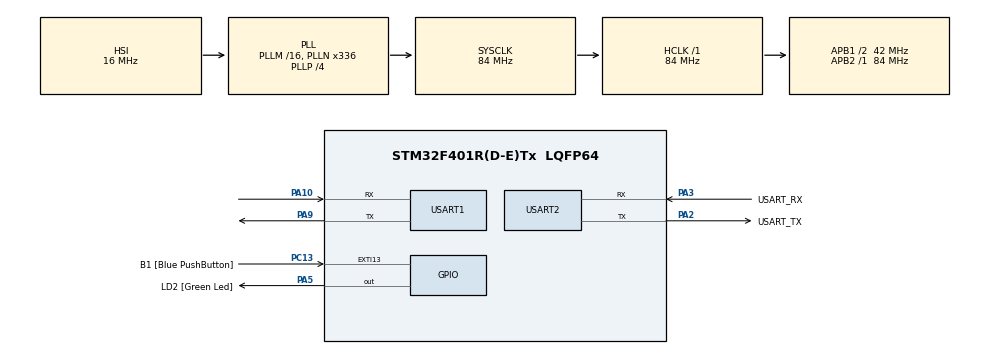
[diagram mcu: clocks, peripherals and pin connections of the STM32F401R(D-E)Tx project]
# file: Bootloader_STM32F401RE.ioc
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Mcu.Family=STM32F4
Mcu.Name=STM32F401R(D-E)Tx
Mcu.Package=LQFP64
NVIC.PriorityGroup=NVIC_PRIORITYGROUP_4
PA10.Mode=Asynchronous
PA10.Signal=USART1_RX
PA13.GPIO_Label=TMS
PA13.Mode=Trace_Asynchronous_SW
PA13.Signal=SYS_JTMS-SWDIO
PA14.GPIO_Label=TCK
PA14.Mode=Trace_Asynchronous_SW
PA14.Signal=SYS_JTCK-SWCLK
PA2.GPIO_Label=USART_TX
PA2.GPIO_Mode=GPIO_MODE_AF_PP
PA2.GPIO_PuPd=GPIO_NOPULL
PA2.GPIO_Speed=GPIO_SPEED_FREQ_LOW
PA2.Mode=Asynchronous
PA2.Signal=USART2_TX
PA3.GPIO_Label=USART_RX
PA3.GPIO_Mode=GPIO_MODE_AF_PP
PA3.GPIO_PuPd=GPIO_NOPULL
PA3.GPIO_Speed=GPIO_SPEED_FREQ_LOW
PA3.Mode=Asynchronous
PA3.Signal=USART2_RX
PA5.GPIO_Label=LD2 [Green Led]
PA5.GPIO_Mode=GPIO_MODE_OUTPUT_PP
PA5.GPIO_PuPd=GPIO_NOPULL
PA5.GPIO_Speed=GPIO_SPEED_FREQ_LOW
PA5.Signal=GPIO_Output
PA9.Mode=Asynchronous
PA9.Signal=USART1_TX
PB3.GPIO_Label=SWO
PB3.Mode=Trace_Asynchronous_SW
PB3.Signal=SYS_JTDO-SWO
PC13-ANTI_TAMP.GPIO_Label=B1 [Blue PushButton]
PC13-ANTI_TAMP.GPIO_ModeDefaultEXTI=GPIO_MODE_IT_FALLING
PC13-ANTI_TAMP.GPIO_PuPd=GPIO_NOPULL
PC13-ANTI_TAMP.Signal=GPXTI13
PC14-OSC32_IN.Mode=LSE-External-Oscillator
PC14-OSC32_IN.Signal=RCC_OSC32_IN
PC15-OSC32_OUT.Mode=LSE-External-Oscillator
PC15-OSC32_OUT.Signal=RCC_OSC32_OUT
PH0\ -\ OSC_IN.Mode=HSE-External-Clock-Source
PH0\ -\ OSC_IN.Signal=RCC_OSC_IN
PH1\ -\ OSC_OUT.Mode=HSE-External-Clock-Source
PH1\ -\ OSC_OUT.Signal=RCC_OSC_OUT
ProjectManager.HeapSize=0x200
ProjectManager.StackSize=0x400
ProjectManager.TargetToolchain=STM32CubeIDE
RCC.48MHZClocksFreq_Value=48000000
RCC.AHBFreq_Value=84000000
RCC.APB1CLKDivider=RCC_HCLK_DIV2
RCC.APB1Freq_Value=42000000
RCC.APB1TimFreq_Value=84000000
RCC.APB2Freq_Value=84000000
RCC.APB2TimFreq_Value=84000000
RCC.CortexFreq_Value=84000000
RCC.HCLKFreq_Value=84000000
RCC.HSE_VALUE=8000000
RCC.HSI_VALUE=16000000
RCC.PLLN=336
RCC.PLLP=RCC_PLLP_DIV4
RCC.PLLQ=7
RCC.SYSCLKFreq_VALUE=84000000
RCC.SYSCLKSource=RCC_SYSCLKSOURCE_PLLCLK
RCC.VCOOutputFreq_Value=336000000
USART1.VirtualMode=VM_ASYNC
USART2.VirtualMode=VM_ASYNC
VP_CRC_VS_CRC.Mode=CRC_Activate
board=NUCLEO-F401RE

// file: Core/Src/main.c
/* USER CODE BEGIN Header */
/**
  ******************************************************************************
  * @file           : main.c
  * @brief          : Main program body
  ******************************************************************************
  * @attention
  *
  * Copyright (c) 2024 STMicroelectronics.
  * All rights reserved.
  *
  * This software is licensed under terms that can be found in the LICENSE file
  * in the root directory of this software component.
  * If no LICENSE file comes with this software, it is provided AS-IS.
  *
  ******************************************************************************
  */
/* USER CODE END Header */
#include "main.h"
#include <string.h>
#include <stdarg.h>

CRC_HandleTypeDef hcrc;

UART_HandleTypeDef huart1;
UART_HandleTypeDef huart2;

void SystemClock_Config(void);
static void MX_GPIO_Init(void);
static void MX_CRC_Init(void);
static void MX_USART1_UART_Init(void);
static void MX_USART2_UART_Init(void);
static void printmsg(char *format,...);

/* USER CODE BEGIN 0 */
char msg1[] = "Hello for UART\r\n";
char msg2[] = "Hello for Application\r\n";

uint8_t supported_commands[] = {
                               BL_GET_VER ,
                               BL_GET_HELP,
                               BL_GET_CID,
							   BL_GET_RDP_Status,
							   BL_GOTO_ADDR,
							   BL_CID_FLASH_ERASE,
                               BL_MEM_WRITE,
							   BL_READ_SECTOR_STATUS} ;

#define rcv_rx_len 200
#define C_UART &huart1
#define D_UART &huart2

uint8_t bl_rx_buffer[rcv_rx_len];
/* USER CODE END 0 */

int main(void)
{

  /* MCU Configuration--------------------------------------------------------*/

  /* Reset of all peripherals, Initializes the Flash interface and the Systick. */
  HAL_Init();

  /* Configure the system clock */
  SystemClock_Config();

  /* Initialize all configured peripherals */
  MX_GPIO_Init();
  MX_CRC_Init();
  MX_USART1_UART_Init();
  MX_USART2_UART_Init();

  /* Infinite loop */
  /* USER CODE BEGIN WHILE */
	if( HAL_GPIO_ReadPin(B1_GPIO_Port,B1_Pin) == GPIO_PIN_RESET)
	{
		HAL_UART_Transmit(&huart1,(uint8_t*)msg1,sizeof(msg1),HAL_MAX_DELAY);
		bootloader_read_uart_data();

	}
	else
	{
		HAL_UART_Transmit(&huart1,(uint8_t*)msg2,sizeof(msg2),HAL_MAX_DELAY);
		bootloader_jump_to_user_app();

	}

}

void printmsg(char *format,...)
{
	char str[80];
	va_list args;
	va_start(args,format);
	vsprintf(str,format,args);
	HAL_UART_Transmit(D_UART,(uint8_t *)str,strlen(str),HAL_MAX_DELAY);
	va_end(args);
}

void bootloader_read_uart_data(void)
{
	uint8_t rcv_len =0;

	while(1)
	{
		memset(bl_rx_buffer,0,200);
		HAL_UART_Receive(C_UART,bl_rx_buffer,1,HAL_MAX_DELAY);
		rcv_len = bl_rx_buffer[0];
		HAL_UART_Receive(C_UART,&bl_rx_buffer[1],rcv_len,HAL_MAX_DELAY);
		switch(bl_rx_buffer[1])
		{
			case BL_GET_VER:
				bootloader_handle_getver_cmd(bl_rx_buffer);
				break;

			case BL_GET_HELP:
				bootloader_handle_gethelp_cmd(bl_rx_buffer);
				break;

			case BL_GET_CID:
				bootloader_handle_getcid_cmd(bl_rx_buffer);
				break;

			case BL_GET_RDP_Status:
				bootloader_handle_getrdp_cmd(bl_rx_buffer);
				break;

			case BL_GOTO_ADDR:
				bootloader_handle_go_cmd(bl_rx_buffer);
				break;

			case BL_CID_FLASH_ERASE:
				bootloader_handle_flash_erase_cmd(bl_rx_buffer);
				break;

			case BL_MEM_WRITE:
				bootloader_handle_mem_write_cmd(bl_rx_buffer);
				break;

			case BL_ENDIS_RW_PROTECT:
				bootloader_handle_endis_rw_protect(bl_rx_buffer);
				break;

			case BL_MEM_READ:
				bootloader_handle_mem_read(bl_rx_buffer);
				break;

			case BL_READ_SECTOR_STATUS:
				bootloader_handle_read_sector_status(bl_rx_buffer);
				break;

			case BL_OTP_READ:
				bootloader_handle_read_otp(bl_rx_buffer);
				break;
		}

	}
}

void bootloader_jump_to_user_app(void)
{
	void (*app_reset_handler)(void);

	uint32_t msp_value = *(volatile uint32_t *) FLASH_SECTOR2_BASE_ADDRESS;

	__set_MSP(msp_value);

	uint32_t reset_handler_address = *(volatile uint32_t *) (FLASH_SECTOR2_BASE_ADDRESS + 4);

	app_reset_handler = (void*) reset_handler_address;

	app_reset_handler();
}

/******** **********/
void bootloader_handle_getver_cmd(uint8_t *b1_rx_buffer)
{
	 uint8_t bl_version;

	// 1) verify the checksum
	  printmsg("BL_DEBUG_MSG:bootloader_handle_getver_cmd\r\n");

	 //Total length of the command packet
	  uint32_t command_packet_len = bl_rx_buffer[0]+1 ;

	  //extract the CRC32 sent by the Host
	  uint32_t host_crc = *((uint32_t * ) (bl_rx_buffer+command_packet_len - 4) ) ;

	if (! bootloader_verify_crc(&bl_rx_buffer[0],command_packet_len-4,host_crc))
	{
		printmsg("BL_DEBUG_MSG:checksum success !!\r\n");
		// checksum is correct..
		bootloader_send_ack(bl_rx_buffer[0],1);
		bl_version=get_bootloader_version();
		printmsg("BL_DEBUG_MSG:BL_VER : %d %#x\r\n",bl_version,bl_version);
		bootloader_uart_write_data(&bl_version,1);

	}else
	{
		printmsg("BL_DEBUG_MSG:checksum fail !!\r\n");
		//checksum is wrong send nack
		bootloader_send_nack();
	}
}

/******** **********/
void bootloader_handle_gethelp_cmd(uint8_t *pBuffer)
{
	 	 printmsg("BL_DEBUG_MSG:bootloader_handle_gethelp_cmd\n");

		//Total length of the command packet
		uint32_t command_packet_len = bl_rx_buffer[0]+1 ;

		//extract the CRC32 sent by the Host
		uint32_t host_crc = *((uint32_t * ) (bl_rx_buffer+command_packet_len - 4) ) ;

		if (! bootloader_verify_crc(&bl_rx_buffer[0],command_packet_len-4,host_crc))
		{
	        printmsg("BL_DEBUG_MSG:checksum success !!\n");
	        bootloader_send_ack(pBuffer[0],sizeof(supported_commands));
	        bootloader_uart_write_data(supported_commands,sizeof(supported_commands) );

		}else
		{
	        printmsg("BL_DEBUG_MSG:checksum fail !!\n");
	        bootloader_send_nack();
		}
}

/******** **********/
void bootloader_handle_getcid_cmd(uint8_t *pBuffer)
{
		uint16_t bl_cid_num = 0;
		printmsg("BL_DEBUG_MSG:bootloader_handle_getcid_cmd\n");

	    //Total length of the command packet
		uint32_t command_packet_len = bl_rx_buffer[0]+1 ;

		//extract the CRC32 sent by the Host
		uint32_t host_crc = *((uint32_t * ) (bl_rx_buffer+command_packet_len - 4) ) ;

		if (! bootloader_verify_crc(&bl_rx_buffer[0],command_packet_len-4,host_crc))
		{
	        printmsg("BL_DEBUG_MSG:checksum success !!\n");
	        bootloader_send_ack(pBuffer[0],2);
	        bl_cid_num = get_mcu_chip_id();
	        printmsg("BL_DEBUG_MSG:MCU id : %d %#x !!\n",bl_cid_num, bl_cid_num);
	        bootloader_uart_write_data((uint8_t *)&bl_cid_num,2);

		}else
		{
	        printmsg("BL_DEBUG_MSG:checksum fail !!\n");
	        bootloader_send_nack();
		}
}

/******** **********/
void bootloader_handle_getrdp_cmd(uint8_t *b1_rx_buffer)
{
		uint8_t rdp_level = 0x00;
	    printmsg("BL_DEBUG_MSG:bootloader_handle_getrdp_cmd\n");

	    //Total length of the command packet
		uint32_t command_packet_len = bl_rx_buffer[0]+1 ;

		//extract the CRC32 sent by the Host
		uint32_t host_crc = *((uint32_t * ) (bl_rx_buffer+command_packet_len - 4) ) ;

		if (! bootloader_verify_crc(&bl_rx_buffer[0],command_packet_len-4,host_crc))
		{
	        printmsg("BL_DEBUG_MSG:checksum success !!\n");
	        bootloader_send_ack(pBuffer[0],1);
	        rdp_level = get_flash_rdp_level();
	        printmsg("BL_DEBUG_MSG:RDP level: %d %#x\n",rdp_level,rdp_level);
	        bootloader_uart_write_data(&rdp_level,1);

		}else
		{
	        printmsg("BL_DEBUG_MSG:checksum fail !!\n");
	        bootloader_send_nack();
		}
}

/******** **********/
void bootloader_handle_go_cmd(uint8_t *b1_rx_buffer)
{
		uint32_t go_address=0;
	    uint8_t addr_valid = ADDR_VALID;
	    uint8_t addr_invalid = ADDR_INVALID;

	    printmsg("BL_DEBUG_MSG:bootloader_handle_go_cmd\n");

	    //Total length of the command packet
		uint32_t command_packet_len = bl_rx_buffer[0]+1 ;

		//extract the CRC32 sent by the Host
		uint32_t host_crc = *((uint32_t * ) (bl_rx_buffer+command_packet_len - 4) ) ;

		if (! bootloader_verify_crc(&bl_rx_buffer[0],command_packet_len-4,host_crc))
		{
	        printmsg("BL_DEBUG_MSG:checksum success !!\n");

	        bootloader_send_ack(pBuffer[0],1);

	        //extract the go address
	        go_address = *((uint32_t *)&pBuffer[2] );
	        printmsg("BL_DEBUG_MSG:GO addr: %#x\n",go_address);

	        if( verify_address(go_address) == ADDR_VALID )
	        {
	            //tell host that address is fine
	            bootloader_uart_write_data(&addr_valid,1);

	            /*jump to "go" address.
	            we dont care what is being done there.
	            host must ensure that valid code is present over there
	            Its not the duty of bootloader. so just trust and jump */

	            /* Not doing the below line will result in hardfault exception for ARM cortex M */
	            //watch : https://www.youtube.com/watch?v=VX_12SjnNhY

	            go_address+=1; //make T bit =1

	            void (*lets_jump)(void) = (void *)go_address;

	            printmsg("BL_DEBUG_MSG: jumping to go address! \n");

	            lets_jump();

			}else
			{
	            printmsg("BL_DEBUG_MSG:GO addr invalid ! \n");
	            //tell host that address is invalid
	            bootloader_uart_write_data(&addr_invalid,1);
			}

		}else
		{
	        printmsg("BL_DEBUG_MSG:checksum fail !!\n");
	        bootloader_send_nack();
		}
}

/******** **********/
void bootloader_handle_flash_erase_cmd(uint8_t *b1_rx_buffer)
{
		uint8_t erase_status = 0x00;
	    printmsg("BL_DEBUG_MSG:bootloader_handle_flash_erase_cmd\n");

	    //Total length of the command packet
		uint32_t command_packet_len = bl_rx_buffer[0]+1 ;

		//extract the CRC32 sent by the Host
		uint32_t host_crc = *((uint32_t * ) (bl_rx_buffer+command_packet_len - 4) ) ;

		if (! bootloader_verify_crc(&bl_rx_buffer[0],command_packet_len-4,host_crc))
		{
	        printmsg("BL_DEBUG_MSG:checksum success !!\n");
	        bootloader_send_ack(pBuffer[0],1);
	        printmsg("BL_DEBUG_MSG:initial_sector : %d  no_ofsectors: %d\n",pBuffer[2],pBuffer[3]);

	        HAL_GPIO_WritePin(LD2_GPIO_Port, LD2_Pin,1);
	        erase_status = execute_flash_erase(pBuffer[2] , pBuffer[3]);
	        HAL_GPIO_WritePin(LD2_GPIO_Port, LD2_Pin,0);

	        printmsg("BL_DEBUG_MSG: flash erase status: %#x\n",erase_status);

	        bootloader_uart_write_data(&erase_status,1);

		}else
		{
	        printmsg("BL_DEBUG_MSG:checksum fail !!\n");
	        bootloader_send_nack();
		}
}

/******** **********/
void bootloader_handle_mem_write_cmd(uint8_t *b1_rx_buffer)
{

}

/******** **********/
void bootloader_handle_endis_rw_protect(uint8_t *b1_rx_buffer)
{

}

/******** **********/
void bootloader_handle_mem_read(uint8_t *b1_rx_buffer)
{

}

/******** **********/
void bootloader_handle_read_sector_status(uint8_t *b1_rx_buffer)
{

}

/******** **********/
void bootloader_handle_read_otp(uint8_t *b1_rx_buffer)
{

}

void bootloader_send_ack(uint8_t command_code, uint8_t follow_len)
{
	uint8_t ack_buf[2];
	ack_buf[0] = BL_ACK;
	ack_buf[1] = follow_len;

	HAL_UART_Transmit(C_UART,ack_buf,2,HAL_MAX_DELAY);
}

void bootloader_send_nack(void)
{
	uint8_t nack = BL_NACK;
	HAL_UART_Transmit(C_UART,&nack,1,HAL_MAX_DELAY);
}

uint8_t bootloader_verify_crc (uint8_t *pData, uint32_t len, uint32_t crc_host)
{
    uint32_t uwCRCValue=0xff;

    for (uint32_t i=0 ; i < len ; i++)
	{
        uint32_t i_data = pData[i];
        uwCRCValue = HAL_CRC_Accumulate(&hcrc, &i_data, 1);
	}

	 /* Reset CRC Calculation Unit */
  __HAL_CRC_DR_RESET(&hcrc);

	if( uwCRCValue == crc_host)
	{
		return VERIFY_CRC_SUCCESS;
	}

	return VERIFY_CRC_FAIL;
}

uint8_t get_bootloader_version(void)
{
  return (uint8_t)BL_VERSION;
}

uint8_t get_flash_rdp_level(void)
{

	uint8_t rdp_status=0;
#if 0
	FLASH_OBProgramInitTypeDef  ob_handle;
	HAL_FLASHEx_OBGetConfig(&ob_handle);
	rdp_status = (uint8_t)ob_handle.RDPLevel;
#else

	 volatile uint32_t *pOB_addr = (uint32_t*) 0x1FFFC000;
	 rdp_status =  (uint8_t)(*pOB_addr >> 8) ;
#endif

	return rdp_status;

}

void bootloader_uart_write_data(uint8_t *pBuffer,uint32_t len)
{
    /*you can replace the below ST's USART driver API call with your MCUs driver API call */
	HAL_UART_Transmit(C_UART,pBuffer,len,HAL_MAX_DELAY);

}

uint16_t get_mcu_chip_id(void)
{
/*
	The STM32F446xx MCUs integrate an MCU ID code. This ID identifies the ST MCU partnumber
	and the die revision. It is part of the DBG_MCU component and is mapped on the
	external PPB bus (see Section 33.16 on page 1304). This code is accessible using the
	JTAG debug pCat.2ort (4 to 5 pins) or the SW debug port (two pins) or by the user software.
	It is even accessible while the MCU is under system reset. */
	uint16_t cid;
	cid = (uint16_t)(DBGMCU->IDCODE) & 0x0FFF;
	return  cid;

}

uint8_t execute_flash_erase(uint8_t sector_number , uint8_t number_of_sector)
{
    //we have totally 8 sectors in STM32F446RE mcu .. sector[0 to 7]
	//number_of_sector has to be in the range of 0 to 7
	// if sector_number = 0xff , that means mass erase !
	//Code needs to modified if your MCU supports more flash sectors
	FLASH_EraseInitTypeDef flashErase_handle;
	uint32_t sectorError;
	HAL_StatusTypeDef status;

	if( number_of_sector > 8 )
		return INVALID_SECTOR;

	if( (sector_number == 0xff ) || (sector_number <= 7) )
	{
		if(sector_number == (uint8_t) 0xff)
		{
			flashErase_handle.TypeErase = FLASH_TYPEERASE_MASSERASE;
		}else
		{
		    /*Here we are just calculating how many sectors needs to erased */
			uint8_t remanining_sector = 8 - sector_number;
            if( number_of_sector > remanining_sector)
            {
            	number_of_sector = remanining_sector;
            }
			flashErase_handle.TypeErase = FLASH_TYPEERASE_SECTORS;
			flashErase_handle.Sector = sector_number; // this is the initial sector
			flashErase_handle.NbSectors = number_of_sector;
		}
		flashErase_handle.Banks = FLASH_BANK_1;

		/*Get access to touch the flash registers */
		HAL_FLASH_Unlock();
		flashErase_handle.VoltageRange = FLASH_VOLTAGE_RANGE_3;  // our mcu will work on this voltage range
		status = (uint8_t) HAL_FLASHEx_Erase(&flashErase_handle, &sectorError);
		HAL_FLASH_Lock();

		return status;
	}

	return INVALID_SECTOR;
}

/**
  * @briebootloader_jump_to_user_appf System Clock Configuration
  * @retval None
  */
void SystemClock_Config(void)
{
  RCC_OscInitTypeDef RCC_OscInitStruct = {0};
  RCC_ClkInitTypeDef RCC_ClkInitStruct = {0};

  /** Configure the main internal regulator output voltage
  */
  __HAL_RCC_PWR_CLK_ENABLE();
  __HAL_PWR_VOLTAGESCALING_CONFIG(PWR_REGULATOR_VOLTAGE_SCALE2);

  /** Initializes the RCC Oscillators according to the specified parameters
  * in the RCC_OscInitTypeDef structure.
  */
  RCC_OscInitStruct.OscillatorType = RCC_OSCILLATORTYPE_HSI;
  RCC_OscInitStruct.HSIState = RCC_HSI_ON;
  RCC_OscInitStruct.HSICalibrationValue = RCC_HSICALIBRATION_DEFAULT;
  RCC_OscInitStruct.PLL.PLLState = RCC_PLL_ON;
  RCC_OscInitStruct.PLL.PLLSource = RCC_PLLSOURCE_HSI;
  RCC_OscInitStruct.PLL.PLLM = 16;
  RCC_OscInitStruct.PLL.PLLN = 336;
  RCC_OscInitStruct.PLL.PLLP = RCC_PLLP_DIV4;
  RCC_OscInitStruct.PLL.PLLQ = 7;
  if (HAL_RCC_OscConfig(&RCC_OscInitStruct) != HAL_OK)
  {
    Error_Handler();
  }

  /** Initializes the CPU, AHB and APB buses clocks
  */
  RCC_ClkInitStruct.ClockType = RCC_CLOCKTYPE_HCLK|RCC_CLOCKTYPE_SYSCLK
                              |RCC_CLOCKTYPE_PCLK1|RCC_CLOCKTYPE_PCLK2;
  RCC_ClkInitStruct.SYSCLKSource = RCC_SYSCLKSOURCE_PLLCLK;
  RCC_ClkInitStruct.AHBCLKDivider = RCC_SYSCLK_DIV1;
  RCC_ClkInitStruct.APB1CLKDivider = RCC_HCLK_DIV2;
  RCC_ClkInitStruct.APB2CLKDivider = RCC_HCLK_DIV1;

  if (HAL_RCC_ClockConfig(&RCC_ClkInitStruct, FLASH_LATENCY_2) != HAL_OK)
  {
    Error_Handler();
  }
}

static void MX_CRC_Init(void)
{

  hcrc.Instance = CRC;
  if (HAL_CRC_Init(&hcrc) != HAL_OK)
  {
    Error_Handler();
  }

}

static void MX_USART1_UART_Init(void)
{

  huart1.Instance = USART1;
  huart1.Init.BaudRate = 115200;
  huart1.Init.WordLength = UART_WORDLENGTH_8B;
  huart1.Init.StopBits = UART_STOPBITS_1;
  huart1.Init.Parity = UART_PARITY_NONE;
  huart1.Init.Mode = UART_MODE_TX_RX;
  huart1.Init.HwFlowCtl = UART_HWCONTROL_NONE;
  huart1.Init.OverSampling = UART_OVERSAMPLING_16;
  if (HAL_UART_Init(&huart1) != HAL_OK)
  {
    Error_Handler();
  }

}

static void MX_USART2_UART_Init(void)
{

  huart2.Instance = USART2;
  huart2.Init.BaudRate = 115200;
  huart2.Init.WordLength = UART_WORDLENGTH_8B;
  huart2.Init.StopBits = UART_STOPBITS_1;
  huart2.Init.Parity = UART_PARITY_NONE;
  huart2.Init.Mode = UART_MODE_TX_RX;
  huart2.Init.HwFlowCtl = UART_HWCONTROL_NONE;
  huart2.Init.OverSampling = UART_OVERSAMPLING_16;
  if (HAL_UART_Init(&huart2) != HAL_OK)
  {
    Error_Handler();
  }

}

static void MX_GPIO_Init(void)
{
  GPIO_InitTypeDef GPIO_InitStruct = {0};

  /* GPIO Ports Clock Enable */
  __HAL_RCC_GPIOC_CLK_ENABLE();
  __HAL_RCC_GPIOH_CLK_ENABLE();
  __HAL_RCC_GPIOA_CLK_ENABLE();
  __HAL_RCC_GPIOB_CLK_ENABLE();

  /*Configure GPIO pin Output Level */
  HAL_GPIO_WritePin(LD2_GPIO_Port, LD2_Pin, GPIO_PIN_RESET);

  /*Configure GPIO pin : B1_Pin */
  GPIO_InitStruct.Pin = B1_Pin;
  GPIO_InitStruct.Mode = GPIO_MODE_IT_FALLING;
  GPIO_InitStruct.Pull = GPIO_NOPULL;
  HAL_GPIO_Init(B1_GPIO_Port, &GPIO_InitStruct);

  /*Configure GPIO pin : LD2_Pin */
  GPIO_InitStruct.Pin = LD2_Pin;
  GPIO_InitStruct.Mode = GPIO_MODE_OUTPUT_PP;
  GPIO_InitStruct.Pull = GPIO_NOPULL;
  GPIO_InitStruct.Speed = GPIO_SPEED_FREQ_LOW;
  HAL_GPIO_Init(LD2_GPIO_Port, &GPIO_InitStruct);

}

void Error_Handler(void)
{
  __disable_irq();
  while (1)
  {
  }
}
